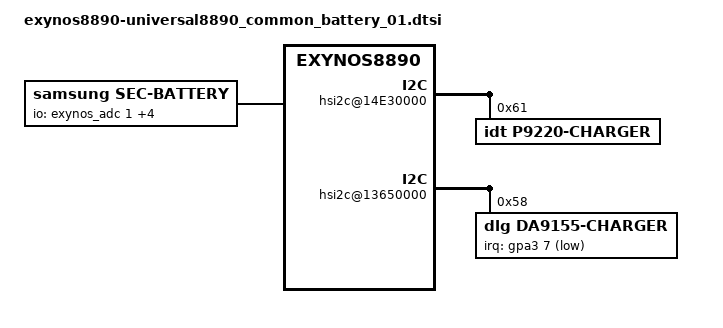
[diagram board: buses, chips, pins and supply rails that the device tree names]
/*
 * SAMSUNG UNIVERSAL5433 board device tree source
 *
 * Copyright (c) 2013 Samsung Electronics Co., Ltd.
 *		http://www.samsung.com
 *
 * This program is free software; you can redistribute it and/or modify
 * it under the terms of the GNU General Public License version 2 as
 * published by the Free Software Foundation.
*/

/ {
	pinctrl@10580000 {
		wpc_int: wpc-int {
			samsung,pins = "gpa3-2";
			samsung,pin-function = <0xf>;
			samsung,pin-pud = <0>;
			samsung,pin-drv = <0>;
		};

		wcin_ok: wcin-ok {
			samsung,pins = "gpa2-1";
			samsung,pin-function = <0xf>;
			samsung,pin-pud = <0>;
			samsung,pin-drv = <0>;
		 };

		wpc_det: wpc-det {
			samsung,pins = "gpa3-5";
			samsung,pin-function = <0xf>;
			samsung,pin-pud = <1>;
		};

		/*
		otg_en: otg-en {
			samsung,pins = "gpr1-1";
			samsung,pin-function = <1>;
			samsung,pin-pud = <0>;
		}; */

		da9155_irq: da9155-irq {
			samsung,pins = "gpa3-7";
			samsung,pin-function = <0xf>;
			samsung,pin-pud = <0>;
			samsung,pin-drv = <0>;
		};
	};

	hsi2c@14E30000 { /* hsi2c12 */
		status = "okay";

		p9220-charger@61 {
			compatible = "idt,p9220-charger";
			reg = <0x61>;
			status = "okay";
		};
	};

	hsi2c@13650000 {
		status = "okay";

		da9155-charger@58 {
			status = "okay";
			compatible = "dlg,da9155-charger";
			pinctrl-names = "default";
			pinctrl-0 = <&da9155_irq>;
			reg = <0x58>;
			da9155-charger,irq-gpio = <&gpa3 7 1>;
		};
	};

	battery {
		status = "okay";

		pinctrl-names = "default";
		pinctrl-0 = <&wpc_int &wpc_det &wcin_ok>;

		/* battery,irq_gpio = <&gpa1 6 0>; */
		battery,wpc_int = <&gpa3 2 0>;
		battery,wpc_det = <&gpa3 5 0>;
		/* battery,otg_en = <&gpr1 1 0>; */

		compatible = "samsung,sec-battery";
		battery,vendor = "SDI SDI";
		battery,charger_name = "max77854-charger";
		battery,fuelgauge_name = "max77854-fuelgauge";
		battery,wireless_charger_name = "p9220-charger";
		battery,technology = <2>; /* POWER_SUPPLY_TECHNOLOGY_LION */
		battery,fgsrc_switch_name = "max77854-charger"; /* Fuelgauge voltage source */

		battery,chip_vendor = "LSI";
		battery,temp_adc_type = <1>; /* SEC_BATTERY_ADC_TYPE_AP */

		battery,chg_temp_check = <1>;
		battery,slave_chg_temp_check = <1>;
		battery,wpc_temp_check = <1>;

		battery,polling_time = <10 30 30 30 3600>;

		battery,temp_table_adc = <261 307 363 413 563 655 714 754 805 882 1025 1192 1265 1377 1578
					 1798 2032 2268 2493 2720 2959 3155 3266 3340 3495 3627 3727>;
		battery,temp_table_data = <900 850 800 750 700 650 630 600 580 550 500 450 430 400 350
					  300 250 200 150 100 50 0 (-30) (-50) (-100) (-150) (-200)>;

		battery,chg_temp_table_adc = <542 638 665 733 782 855 1000 1168 1237 1341 1530
					     1736 1949 2170 2378 2583 2801 2975 3081 3149 3284 3413 3504>;
		battery,chg_temp_table_data = <700 650 630 600 580 550 500 450 430 400 350
					    300 250 200 150 100 50 0 (-30) (-50) (-100) (-150) (-200)>;
		battery,slave_chg_temp_table_adc = <542 638 665 733 782 855 1000 1168 1237 1341 1530
					     1736 1949 2170 2378 2583 2801 2975 3081 3149 3284 3413 3504>;
		battery,slave_chg_temp_table_data = <700 650 630 600 580 550 500 450 430 400 350
					    300 250 200 150 100 50 0 (-30) (-50) (-100) (-150) (-200)>;
		battery,wpc_temp_table_adc = <542 638 665 733 782 855 1000 1168 1237 1341 1530
					     1736 1949 2170 2378 2583 2801 2975 3081 3149 3284 3413 3504>;
		battery,wpc_temp_table_data = <700 650 630 600 580 550 500 450 430 400 350
					    300 250 200 150 100 50 0 (-30) (-50) (-100) (-150) (-200)>;

		battery,input_current_limit = <1800 450 450 1800 500 900 1000 460 1000 450 900 1000 900 1900 1800 450 450 400 700 1300 300 1000 1500 450 1675 1800 1000 1675 80 1800 1675 1400 1000 1000>;
		battery,fast_charging_current = <2100 0 0 2100 800 1200 1000 460 1200 0 1400 2100 1400 1600 2100 0 0 400 700 1300 300 1000 1500 0 3000 3200 1000 3600 80 1800 1000 1400 0 1000>;
		battery,full_check_current_1st = <350 0 0 350 350 350 350 350 350 0 350 350 350 350 350 0 0 350 350 350 350 350 350 0 350 350 350 350 0 350 350 350 0 350>;
		battery,full_check_current_2nd = <150 0 0 150 150 150 150 150 150 0 150 150 150 150 150 0 0 150 150 150 150 150 150 0 150 150 150 150 0 150 150 150 0 150>;

		battery,wireless_cc_cv = <95>;
		battery,fod_data = <194 9 160 19 174 249 150 11 165 239 161 249>;
		battery,wpc_cv_call_vout = <5600>;
		battery,wpc_cc_call_vout = <5600>;
		battery,inbat_voltage = <1>;

		battery,inbat_voltage_table_adc = <3120 3101 3061 3038 3001 2956 2920 2887 2856 2814
						2793 2754 2720 2677 2641 2613 2572 2531 2502 2467 2436>;
		battery,inbat_voltage_table_data = <438 435 430 425 420 415 410 405 400 395
						390 385 380 375 370 365 360 355 350 345 340>;

		battery,adc_check_count = <5>;

		battery,cable_check_type = <4>; /* SEC_BATTERY_CABLE_CHECK_PSY */
		battery,cable_source_type = <1>; /* SEC_BATTERY_CABLE_SOURCE_EXTERNAL */
		battery,polling_type = <1>; /* SEC_BATTERY_MONITOR_ALARM */
		battery,monitor_initial_count = <0>;

		battery,battery_check_type = <0>; /* SEC_BATTERY_CHECK_NONE */
		battery,check_count = <0>;
		battery,check_adc_max = <1440>;
		battery,check_adc_min = <0>;

		battery,ovp_uvlo_check_type = <3>; /* SEC_BATTERY_OVP_UVLO_CHGPOLLING */

		battery,thermal_source = <2>; /* SEC_BATTERY_THERMAL_SOURCE_ADC */

		battery,temp_check_type = <2>; /* SEC_BATTERY_TEMP_CHECK_TEMP */
		battery,temp_check_count = <1>;
		battery,temp_highlimit_threshold_event = <800>;
		battery,temp_highlimit_recovery_event = <750>;
		battery,temp_high_threshold_event = <550>;
		battery,temp_high_recovery_event = <500>;
		battery,temp_low_threshold_event = <(-50)>;
		battery,temp_low_recovery_event = <0>;
		battery,temp_highlimit_threshold_normal = <800>;
		battery,temp_highlimit_recovery_normal = <750>;
		battery,temp_high_threshold_normal = <550>;
		battery,temp_high_recovery_normal = <500>;
		battery,temp_low_threshold_normal = <(-50)>;
		battery,temp_low_recovery_normal = <0>;
		battery,temp_highlimit_threshold_lpm = <800>;
		battery,temp_highlimit_recovery_lpm = <750>;
		battery,temp_high_threshold_lpm = <550>;
		battery,temp_high_recovery_lpm = <500>;
		battery,temp_low_threshold_lpm = <(-50)>;
		battery,temp_low_recovery_lpm = <0>;
		battery,full_check_type = <7>; /* SEC_BATTERY_FULLCHARGED_CHGPSY */
		battery,full_check_type_2nd = <7>; /* SEC_BATTERY_FULLCHARGED_CHGPSY */
		battery,full_check_count = <1>;
		battery,chg_gpio_full_check = <0>;
		battery,chg_polarity_full_check = <1>;

		battery,chg_high_temp_1st = <530>;
		battery,chg_high_temp_2nd = <530>;
		battery,chg_high_temp_recovery = <525>;
		battery,chg_charging_limit_current = <1300>;
		battery,chg_charging_limit_current_2nd = <1300>;
		/* battery,chg_skip_check_capacity = <10>; kb_tiger.son temporary block */
		battery,chg_skip_check_capacity = <200>; /* temporary value. */
		battery,chg_skip_check_time = <600>;

		battery,wpc_high_temp = <390>;
		battery,wpc_high_temp_recovery = <385>;
		battery,wpc_lcd_on_high_temp = <380>;
		battery,wpc_lcd_on_high_temp_rec = <370>;
		battery,wpc_charging_limit_current = <700>;
		battery,wpc_skip_check_capacity = <10>;
		battery,wpc_skip_check_time = <600>;

		/* SEC_BATTERY_FULL_CONDITION_SOC |
		   SEC_BATTERY_FULL_CONDITION_NOTIMEFULL |
		   SEC_BATTERY_FULL_CONDITION_VCELL */
		battery,full_condition_type = <13>;
		battery,full_condition_soc = <93>;
		battery,full_condition_vcell = <4275>;

		battery,recharge_check_count = <2>;
		battery,recharge_condition_type = <4>; /* SEC_BATTERY_RECHARGE_CONDITION_VCELL */
		battery,recharge_condition_soc = <98>;
		battery,recharge_condition_vcell = <4310>;

		battery,charging_total_time = <21600>;
		battery,recharging_total_time = <5400>;
		battery,charging_reset_time = <0>;

		battery,chg_float_voltage = <43625>;

		battery,swelling_high_temp_block = <450>;
		battery,swelling_high_temp_recov = <400>;
		battery,swelling_low_temp_block = <100>;
		battery,swelling_low_temp_recov = <150>;

		battery,swelling_low_temp_current = <1500>;	/* 0.5C */
		battery,swelling_low_temp_topoff = <150>;	/* 0.05C */
		battery,swelling_high_temp_current = <2100>;	/* 0.7C */
		battery,swelling_high_temp_topoff = <150>;	/* 0.05C */

		battery,swelling_drop_float_voltage = <42000>;
		battery,swelling_high_rechg_voltage = <4150>;
		battery,swelling_low_rechg_voltage = <4050>;

		battery,self_discharging_temp_block = <600>;
		battery,self_discharging_volt_block = <4250>;
		battery,self_discharging_temp_recov = <550>;
		battery,self_discharging_temp_pollingtime = <400>;

		battery,siop_event_check_type = <1>;
		battery,siop_call_cv_current = <150>;
		battery,siop_call_cc_current = <500>;
		battery,siop_input_limit_current = <1200>;
		battery,siop_charging_limit_current = <1000>;
		battery,siop_hv_input_limit_current = <700>;
		battery,siop_hv_charging_limit_current = <1000>;

		battery,siop_wireless_input_limit_current = <600>;
		battery,siop_wireless_charging_limit_current = <700>;
		battery,siop_hv_wireless_input_limit_current = <600>;
		battery,siop_hv_wireless_charging_limit_current = <700>;

		io-channels = <&exynos_adc 1>, <&exynos_adc 3>, <&exynos_adc 6>, <&exynos_adc 4>, <&exynos_adc 5>;
		io-channel-names = "adc-temp", "adc-chg-temp", "adc-in-bat", "adc-wpc-temp", "adc-slave-chg-temp";
		#io-channel-cells = <3>;
		io-channel-ranges;
	};

	sec-multi-charger {
		status = "ok";
		compatible = "samsung,sec-multi-charger";

		charger,battery_name = "battery";
		charger,main_charger = "max77854-charger";
		charger,sub_charger = "da9155-charger";

		charger,is_serial;

		charger,sub_charger_condition = <0x13>;
		charger,sub_charger_condition_current_max = <1200>;
		charger,sub_charger_condition_current_now = <500>;
		charger,sub_charger_condition_online = <3 24 26>;

		charger,main_charger_temp_threshold = <1000>;
		charger,main_charger_temp_step = <5>;
		charger,main_charger_temp_drop_level = <2>;

		charger,sub_charger_temp_threshold = <1000>;
		charger,sub_charger_temp_step = <5>;
		charger,sub_charger_temp_drop_level = <2>;

		charger,main_charger_current_level = <100>;
		charger,sub_charger_current_level = <100>;
	};

	max77854-fuelgauge {
		status = "disable";
		fuelgauge,fuel_alert_soc = <1>;
		fuelgauge,jig_gpio = <&gpi2 4 0>;
		fuelgauge,capacity_max = <1000>;
		fuelgauge,capacity_max_margin = <100>;
		fuelgauge,capacity_min = <0>;
		fuelgauge,capacity_calculation_type = <28>;
		fuelgauge,repeated_fuelalert;
		fuelgauge,qrtable20 = <0x1280>;
		fuelgauge,qrtable30 = <0x0D82>;
		fuelgauge,rcomp0 = <0x64>;
		fuelgauge,rcomp_charging = <0x64>;
		fuelgauge,is_using_model_data;
		fuelgauge,type_str = "SDI";
		fuelgauge,capacity = <0x187E>;
		fuelgauge,auto_discharge_en;
		fuelgauge,fg_resistor = <2>;
		fuelgauge,discharge_temp_threshold = <600>;
		fuelgauge,discharge_volt_threshold = <4540>;
	};
};
